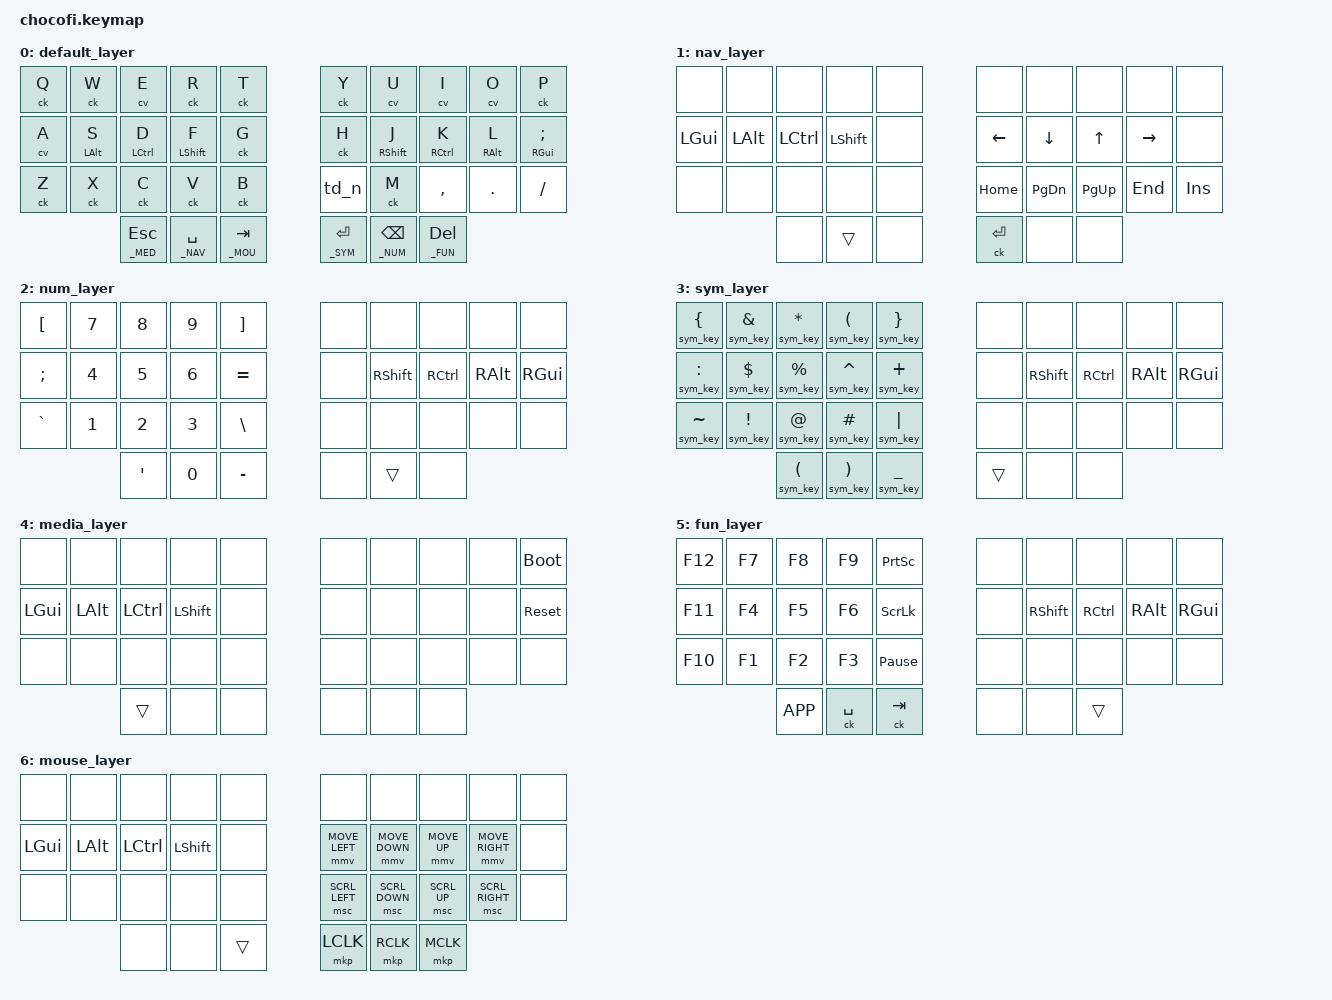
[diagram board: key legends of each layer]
/*
 * Copyright (c) 2020 The ZMK Contributors
 *
 * SPDX-License-Identifier: MIT
 */
#include <behaviors.dtsi>
#include <dt-bindings/zmk/keys.h>
#include <dt-bindings/zmk/bt.h>
#include <dt-bindings/zmk/modifiers.h>
#include <dt-bindings/zmk/pointing.h>

#define _NAV 1
#define _NUM 2
#define _SYM 3
#define _MED 4
#define _FUN 5
#define _MOU 6

&lt {
    bindings = <&mo>, <&ck>;
    quick-tap-ms = <200>;
};

&mt {
    bindings = <&kp>, <&ck>;
    quick-tap-ms = <200>;
    flavor = "tap-preferred";
};

/ {
    combos {
        compatible = "zmk,combos";
        upper_snake { timeout-ms = <50>; key-positions = <4 5>; layers = <0>; bindings = <&cm 1>; };
        lower_snake { timeout-ms = <50>; key-positions = <14 15>; layers = <0>; bindings = <&cm 2>; };
        pascal { timeout-ms = <50>; key-positions = <4 15>; layers = <0>; bindings = <&cm 3>; };
        camel { timeout-ms = <50>; key-positions = <14 5>; layers = <0>; bindings = <&cm 4>; };
    };
    macros {
        uc_a_lower: uc_a_lower {
            compatible = "zmk,behavior-macro";
            #binding-cells = <0>;
            wait-ms = <40>;
            tap-ms = <40>;
            bindings = <&macro_tap &kp LC(LS(U)) &ux_n0 &ux_n0 &ux_e &ux_n1 &ux_enter>;
        };
        uc_a_upper: uc_a_upper {
            compatible = "zmk,behavior-macro";
            #binding-cells = <0>;
            wait-ms = <40>;
            tap-ms = <40>;
            bindings = <&macro_tap &kp LC(LS(U)) &ux_n0 &ux_n0 &ux_c &ux_n1 &ux_enter>;
        };
        double_a: double_a {
            compatible = "zmk,behavior-macro";
            #binding-cells = <0>;
            wait-ms = <40>;
            tap-ms = <40>;
            bindings = <&ck A &ck A>;
        };
        uc_e_lower: uc_e_lower {
            compatible = "zmk,behavior-macro";
            #binding-cells = <0>;
            wait-ms = <40>;
            tap-ms = <40>;
            bindings = <&macro_tap &kp LC(LS(U)) &ux_n0 &ux_n0 &ux_e &ux_n9 &ux_enter>;
        };
        uc_e_upper: uc_e_upper {
            compatible = "zmk,behavior-macro";
            #binding-cells = <0>;
            wait-ms = <40>;
            tap-ms = <40>;
            bindings = <&macro_tap &kp LC(LS(U)) &ux_n0 &ux_n0 &ux_c &ux_n9 &ux_enter>;
        };
        double_e: double_e {
            compatible = "zmk,behavior-macro";
            #binding-cells = <0>;
            wait-ms = <40>;
            tap-ms = <40>;
            bindings = <&ck E &ck E>;
        };
        uc_i_lower: uc_i_lower {
            compatible = "zmk,behavior-macro";
            #binding-cells = <0>;
            wait-ms = <40>;
            tap-ms = <40>;
            bindings = <&macro_tap &kp LC(LS(U)) &ux_n0 &ux_n0 &ux_e &ux_d &ux_enter>;
        };
        uc_i_upper: uc_i_upper {
            compatible = "zmk,behavior-macro";
            #binding-cells = <0>;
            wait-ms = <40>;
            tap-ms = <40>;
            bindings = <&macro_tap &kp LC(LS(U)) &ux_n0 &ux_n0 &ux_c &ux_d &ux_enter>;
        };
        double_i: double_i {
            compatible = "zmk,behavior-macro";
            #binding-cells = <0>;
            wait-ms = <40>;
            tap-ms = <40>;
            bindings = <&ck I &ck I>;
        };
        uc_o_lower: uc_o_lower {
            compatible = "zmk,behavior-macro";
            #binding-cells = <0>;
            wait-ms = <40>;
            tap-ms = <40>;
            bindings = <&macro_tap &kp LC(LS(U)) &ux_n0 &ux_n0 &ux_f &ux_n3 &ux_enter>;
        };
        uc_o_upper: uc_o_upper {
            compatible = "zmk,behavior-macro";
            #binding-cells = <0>;
            wait-ms = <40>;
            tap-ms = <40>;
            bindings = <&macro_tap &kp LC(LS(U)) &ux_n0 &ux_n0 &ux_d &ux_n3 &ux_enter>;
        };
        double_o: double_o {
            compatible = "zmk,behavior-macro";
            #binding-cells = <0>;
            wait-ms = <40>;
            tap-ms = <40>;
            bindings = <&ck O &ck O>;
        };
        uc_u_lower: uc_u_lower {
            compatible = "zmk,behavior-macro";
            #binding-cells = <0>;
            wait-ms = <40>;
            tap-ms = <40>;
            bindings = <&macro_tap &kp LC(LS(U)) &ux_n0 &ux_n0 &ux_f &ux_a &ux_enter>;
        };
        uc_u_upper: uc_u_upper {
            compatible = "zmk,behavior-macro";
            #binding-cells = <0>;
            wait-ms = <40>;
            tap-ms = <40>;
            bindings = <&macro_tap &kp LC(LS(U)) &ux_n0 &ux_n0 &ux_d &ux_a &ux_enter>;
        };
        double_u: double_u {
            compatible = "zmk,behavior-macro";
            #binding-cells = <0>;
            wait-ms = <40>;
            tap-ms = <40>;
            bindings = <&ck U &ck U>;
        };
        uc_n_lower: uc_n_lower {
            compatible = "zmk,behavior-macro";
            #binding-cells = <0>;
            wait-ms = <40>;
            tap-ms = <40>;
            bindings = <&macro_tap &kp LC(LS(U)) &ux_n0 &ux_n0 &ux_f &ux_n1 &ux_enter>;
        };
        uc_n_upper: uc_n_upper {
            compatible = "zmk,behavior-macro";
            #binding-cells = <0>;
            wait-ms = <40>;
            tap-ms = <40>;
            bindings = <&macro_tap &kp LC(LS(U)) &ux_n0 &ux_n0 &ux_d &ux_n1 &ux_enter>;
        };
        double_n: double_n {
            compatible = "zmk,behavior-macro";
            #binding-cells = <0>;
            wait-ms = <40>;
            tap-ms = <40>;
            bindings = <&ck N &ck N>;
        };
    };
    behaviors {
        sym_key: symbol_key { compatible = "custom,symbol-key"; #binding-cells = <1>; };
        cv: vowel_capture { compatible = "custom,vowel-capture"; #binding-cells = <1>; };
        ck: case_key { compatible = "custom,case-key"; #binding-cells = <1>; };
        cm: case_mode { compatible = "custom,case-mode"; #binding-cells = <1>; };
        dashboard_sync: dsync {
            compatible = "custom,dashboard-sync";
            #binding-cells = <2>;
        };
        ux_n0: unicode_n0 {
            compatible = "zmk,behavior-mod-morph";
            #binding-cells = <0>;
            bindings = <&kp N0>, <&kp N0>;
            mods = <(MOD_LSFT | MOD_RSFT)>;
        };
        ux_n1: unicode_n1 {
            compatible = "zmk,behavior-mod-morph";
            #binding-cells = <0>;
            bindings = <&kp N1>, <&kp N1>;
            mods = <(MOD_LSFT | MOD_RSFT)>;
        };
        ux_n3: unicode_n3 {
            compatible = "zmk,behavior-mod-morph";
            #binding-cells = <0>;
            bindings = <&kp N3>, <&kp N3>;
            mods = <(MOD_LSFT | MOD_RSFT)>;
        };
        ux_n9: unicode_n9 {
            compatible = "zmk,behavior-mod-morph";
            #binding-cells = <0>;
            bindings = <&kp N9>, <&kp N9>;
            mods = <(MOD_LSFT | MOD_RSFT)>;
        };
        ux_a: unicode_a {
            compatible = "zmk,behavior-mod-morph";
            #binding-cells = <0>;
            bindings = <&kp A>, <&kp A>;
            mods = <(MOD_LSFT | MOD_RSFT)>;
        };
        ux_b: unicode_b {
            compatible = "zmk,behavior-mod-morph";
            #binding-cells = <0>;
            bindings = <&kp B>, <&kp B>;
            mods = <(MOD_LSFT | MOD_RSFT)>;
        };
        ux_c: unicode_c {
            compatible = "zmk,behavior-mod-morph";
            #binding-cells = <0>;
            bindings = <&kp C>, <&kp C>;
            mods = <(MOD_LSFT | MOD_RSFT)>;
        };
        ux_d: unicode_d {
            compatible = "zmk,behavior-mod-morph";
            #binding-cells = <0>;
            bindings = <&kp D>, <&kp D>;
            mods = <(MOD_LSFT | MOD_RSFT)>;
        };
        ux_e: unicode_e {
            compatible = "zmk,behavior-mod-morph";
            #binding-cells = <0>;
            bindings = <&kp E>, <&kp E>;
            mods = <(MOD_LSFT | MOD_RSFT)>;
        };
        ux_f: unicode_f {
            compatible = "zmk,behavior-mod-morph";
            #binding-cells = <0>;
            bindings = <&kp F>, <&kp F>;
            mods = <(MOD_LSFT | MOD_RSFT)>;
        };
        ux_enter: unicode_enter {
            compatible = "zmk,behavior-mod-morph";
            #binding-cells = <0>;
            bindings = <&kp ENTER>, <&kp ENTER>;
            mods = <(MOD_LSFT | MOD_RSFT)>;
        };
        accent_a: accent_a {
            compatible = "zmk,behavior-mod-morph";
            #binding-cells = <0>;
            bindings = <&uc_a_lower>, <&uc_a_upper>;
            mods = <(MOD_LSFT | MOD_RSFT)>;
        };
        enter_sym: enter_symbol_layer {
            compatible = "zmk,behavior-hold-tap";
            #binding-cells = <2>;
            flavor = "hold-preferred";
            tapping-term-ms = <200>;
            quick-tap-ms = <0>;
            bindings = <&mo>, <&ck>;
        };
        a_key: a_hold_tap {
            compatible = "zmk,behavior-hold-tap";
            #binding-cells = <2>;
            flavor = "tap-preferred";
            hold-trigger-key-positions = <10 11 12 13>;
            tapping-term-ms = <200>;
            quick-tap-ms = <200>;
            bindings = <&kp>, <&td_a>;
        };
        td_a: tap_dance_a {
            compatible = "zmk,behavior-tap-dance";
            #binding-cells = <0>;
            tapping-term-ms = <200>;
            bindings = <&ck A>, <&double_a>, <&accent_a>;
        };
        accent_e: accent_e {
            compatible = "zmk,behavior-mod-morph";
            #binding-cells = <0>;
            bindings = <&uc_e_lower>, <&uc_e_upper>;
            mods = <(MOD_LSFT | MOD_RSFT)>;
        };
        td_e: tap_dance_e {
            compatible = "zmk,behavior-tap-dance";
            #binding-cells = <0>;
            tapping-term-ms = <200>;
            bindings = <&ck E>, <&double_e>, <&accent_e>;
        };
        accent_i: accent_i {
            compatible = "zmk,behavior-mod-morph";
            #binding-cells = <0>;
            bindings = <&uc_i_lower>, <&uc_i_upper>;
            mods = <(MOD_LSFT | MOD_RSFT)>;
        };
        td_i: tap_dance_i {
            compatible = "zmk,behavior-tap-dance";
            #binding-cells = <0>;
            tapping-term-ms = <200>;
            bindings = <&ck I>, <&double_i>, <&accent_i>;
        };
        accent_o: accent_o {
            compatible = "zmk,behavior-mod-morph";
            #binding-cells = <0>;
            bindings = <&uc_o_lower>, <&uc_o_upper>;
            mods = <(MOD_LSFT | MOD_RSFT)>;
        };
        td_o: tap_dance_o {
            compatible = "zmk,behavior-tap-dance";
            #binding-cells = <0>;
            tapping-term-ms = <200>;
            bindings = <&ck O>, <&double_o>, <&accent_o>;
        };
        accent_u: accent_u {
            compatible = "zmk,behavior-mod-morph";
            #binding-cells = <0>;
            bindings = <&uc_u_lower>, <&uc_u_upper>;
            mods = <(MOD_LSFT | MOD_RSFT)>;
        };
        td_u: tap_dance_u {
            compatible = "zmk,behavior-tap-dance";
            #binding-cells = <0>;
            tapping-term-ms = <200>;
            bindings = <&ck U>, <&double_u>, <&accent_u>;
        };
        accent_n: accent_n {
            compatible = "zmk,behavior-mod-morph";
            #binding-cells = <0>;
            bindings = <&uc_n_lower>, <&uc_n_upper>;
            mods = <(MOD_LSFT | MOD_RSFT)>;
        };
        td_n: tap_dance_n {
            compatible = "zmk,behavior-tap-dance";
            #binding-cells = <0>;
            tapping-term-ms = <200>;
            bindings = <&ck N>, <&double_n>, <&accent_n>;
        };
    };
};

/ {
        chosen { zmk,physical-layout = &foostan_corne_5col_layout; };
        keymap {
                compatible = "zmk,keymap";

                default_layer {
// ------------------------------------------------------------------
// |  Q  |  W  |  E  |  R  |  T  |   |  Y  |  U   |  I  |  O  |  P  |
// |  A  |  S  |  D  |  F  |  G  |   |  H  |  J   |  K  |  L  |  ;  |
// |  Z  |  X  |  C  |  V  |  B  |   |  N  |  M   |  ,  |  .  |  /  |
//            | ESC | SPACE | TAB |  | ENT | BSPC | DEL |
                        bindings = <
   &ck Q &ck W &cv E &ck R &ck T   &ck Y &cv U  &cv I     &cv O   &ck P
   &cv A &mt LALT S &mt LCTRL D &mt LSHFT F &ck G   &ck H &mt RSHFT J &mt RCTRL K &mt RALT L &mt RGUI SEMI
   &ck Z &ck X &ck C &ck V &ck B   &td_n &ck M  &kp COMMA &kp DOT &kp FSLH
       &lt _MED ESC &lt _NAV SPACE &lt _MOU TAB  &enter_sym _SYM RET &lt _NUM BSPC &lt _FUN DEL
                        >;
                };

                nav_layer {
// -----------------------------------------------------------------
// |     |     |     |     |     |   |     |     |     |     |     |
// |LGUI |LALT |LCTRL|LSHFT|     |   | LFT | DWN |  UP | RGT |     |
// |     |     |     |     |     |   |HOME |PG_DN|PG_UP| END | INS |
//             |     |_____|     |   | ENT |     |     |
                        bindings = <
&none    &none    &none     &none     &none  &none     &none     &none     &none     &none
&kp LGUI &kp LALT &kp LCTRL &kp LSHFT &none  &kp LEFT  &kp DOWN  &kp UP    &kp RIGHT &none
&none    &none    &none     &none     &none  &kp HOME  &kp PG_DN &kp PG_UP &kp END   &kp INS
                         &none &trans &none  &ck ENTER &none     &none
                        >;
                };

                num_layer {
// -----------------------------------------------------------------
// |  [  |  7  |  8  |  9  |  ]  |   |     |     |     |     |     |
// |  ;  |  4  |  5  |  6  |  =  |   |     |RSHFT|RCTRL|RALT |RGUI |
// |  `  |  1  |  2  |  3  |  \  |   |     |     |     |     |     |
//             |  '  |  0  |  -  |   |     |     |_____|     |
                        bindings = <
&kp LBKT  &kp N7 &kp N8 &kp N9 &kp RBKT      &none &none     &none     &none    &none
&kp SCLN  &kp N4 &kp N5 &kp N6 &kp EQUAL     &none &kp RSHFT &kp RCTRL &kp RALT &kp RGUI
&kp GRAVE &kp N1 &kp N2 &kp N3 &kp BSLH      &none &none     &none     &none    &none
                &kp SQT &kp N0 &kp MINUS     &none &trans &none
                        >;
                };

                sym_layer {
// -----------------------------------------------------------------
// |  {  |  &  |  *  |  (  |  }  |   |     |     |     |     |     |
// |  :  |  $  |  %  |  ^  |  +  |   |     |RSHFT|RCTRL|RALT |RGUI |
// |  ~  |  !  |  @  |  #  |  |  |   |     |     |     |     |     |
//             |  (  |  )  |  _  |   |     |_____|     |     |
                        bindings = <
&sym_key LBRC  &sym_key AMPS &sym_key ASTRK &sym_key LPAR  &sym_key RBRC  &none  &none     &none     &none    &none
&sym_key COLON &sym_key DLLR &sym_key PRCNT &sym_key CARET &sym_key PLUS  &none  &kp RSHFT &kp RCTRL &kp RALT &kp RGUI
&sym_key TILDE &sym_key EXCL &sym_key AT    &sym_key HASH  &sym_key PIPE &none  &none     &none     &none    &none
                   &sym_key LPAR  &sym_key RPAR  &sym_key UNDER &trans &none     &none
                        >;
                };

                media_layer {
// -----------------------------------------------------------------
// |     |     |     |     |     |   |     |     |     |     |     |
// |LGUI |LALT |LCTRL|LSHFT|     |   |     |     |     |     |     |
// |     |     |     |     |     |   |     |     |     |     |     |
//             |_____|     |     |   |     |     |     |  
                        bindings = <
&none &none &none &none &none                  &none &none &none &none &bootloader
&kp LGUI &kp LALT &kp LCTRL &kp LSHFT &none    &none &none &none &none &sys_reset
&none &none &none &none &none                  &none &none &none &none &none
           &trans &none &none     &none &none &none
                       >;
                };

                fun_layer {
// -----------------------------------------------------------------
// | F12 |  F7 |  F8 |  F9 | PSCN|   |     |     |     |     |     |
// | F11 |  F4 |  F5 |  F6 | SCLO|   |     |RSHFT|RCTRL|RALT |RGUI |
// | F10 |  F1 |  F2 |  F3 | PAUS|   |     |     |     |     |     |
//             |  APP| SPC | TAB |   |     |_____|     |     |
                        bindings = <
&kp F12 &kp F7 &kp F8 &kp F9 &kp PSCRN        &none &none &none  &none &none
&kp F11 &kp F4 &kp F5 &kp F6 &kp SLCK         &none &kp RSHFT &kp RCTRL &kp RALT &kp RGUI
&kp F10 &kp F1 &kp F2 &kp F3 &kp PAUSE_BREAK  &none &none &none  &none &none
         &kp K_APP &ck SPACE &ck TAB          &none &none &trans
                       >;
                };

                mouse_layer {
// -----------------------------------------------------------------
// |     |     |     |     |     |   |     |     |     |     |     |
// |LGUI |LALT |LCTRL|LSHFT|     |   |     |     |     |     |     |
// |     |     |     |     |     |   |     |     |     |     |     |
//             |     |     |_____|   |     |     |     |
                        bindings = <
&none &none &none &none &none                  &none &none &none &none &none
&kp LGUI &kp LALT &kp LCTRL &kp LSHFT &none    &mmv MOVE_LEFT &mmv MOVE_DOWN &mmv MOVE_UP &mmv MOVE_RIGHT &none
&none &none &none &none &none                  &msc SCRL_LEFT &msc SCRL_DOWN &msc SCRL_UP &msc SCRL_RIGHT &none
           &none &none &trans     &mkp LCLK &mkp RCLK &mkp MCLK
                       >;
                };
        };
};

